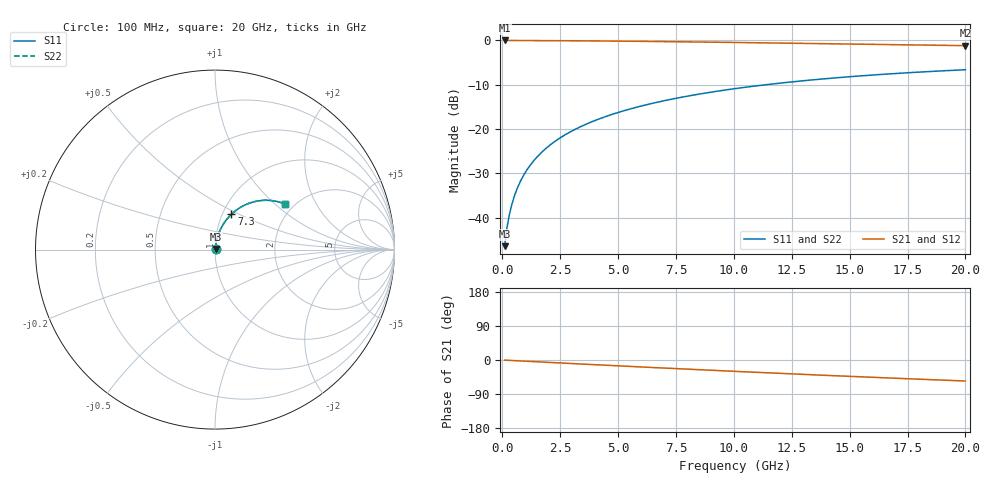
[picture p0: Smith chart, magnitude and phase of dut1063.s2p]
! Touchstone file exported from HFSS 2026.1.0
!  File:  C:/ffzhzh/LocalFiles/Ansys_Project_Files/temp_train_BSMRDL_1063_1783174150_18472.aedt
!  Generated:  10:10:37 PM Jul  4, 2026
!  Design:  BSMRDL
!  Project:  temp_train_BSMRDL_1063_1783174150_18472
! Variables:
!  h_bsmrdl = 5.5um
!  h_ox = 20um
!  h_rdl = 5um
!  h_sub = 80um
!  h_tmrdl = 5um
!  h_tsv = 80um
!  h_via = 3um
!  l_bsmrdl = 875.74um
!  l_sub = 1275.74um
!  l_tmrdl = 200um
!  m_sub = 200um
!  pitch = 43.81um
!  r_tsv = 6um
!  s_tmrdl = 10um
!  w_bsmrdl = 17.57um
!  w_sub = 500um
!  w_tmrdl = 12um
!  x_tsv_center1 = 206um
!  x_tsv_center2 = 1099.31um
!  x_tsv_center3 = 1311.31um
!  x_tsv_center4 = 2204.62um
!  x_tsv_center5 = 2416.62um
!  x_tsv_center6 = 3309.93um
# GHz S MA R 50.000000
! Terminal data exported
! Port[1] = BSM_RDL1_1_T1
! Port[2] = BSM_RDL1_1_T2
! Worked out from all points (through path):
!   200 points, 100 MHz to 20 GHz, reference 50 ohm
!   highest |S21| = -0.03 dB at 100 MHz (marker M1); lowest = -1.2 dB at 20 GHz (marker M2)
!   group delay of S21, straight-line fit = 7.7 ps
!   lowest |S11| = -46.4 dB at 100 MHz (marker M3), VSWR 1.01, Z = 50.3 + j0.346 ohm
!   |S11| at or under -10 dB: start of sweep to 11.39 GHz
!   |S22| runs from -46.4 to -6.6 dB; largest |S21 - S12| = 2.6e-15
!   S11 on the Smith chart (normalised r, x): 100 MHz: 1.01, +0.01; 7.3 GHz: 1.10, +0.46; 20 GHz: 1.80, +1.17
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0.1  0.004794 45.8  0.9967 -0.3  0.9967 -0.3  0.004794 45.8
! Gamma 0 0 0 0
! Port Impedance 50 0 50 0
0.2  0.00764 62.2  0.9965 -0.7  0.9965 -0.7  0.00764 62.2
0.3  0.01068 69.1  0.9963 -1.0  0.9963 -1.0  0.01068 69.1
0.4  0.01377 72.8  0.9962 -1.3  0.9962 -1.3  0.01377 72.8
0.5  0.01689 75.2  0.996 -1.6  0.996 -1.6  0.01689 75.2
0.6  0.02002 76.7  0.9959 -1.9  0.9959 -1.9  0.02002 76.7
0.8  0.02633 78.5  0.9956 -2.5  0.9956 -2.5  0.02633 78.5
1.1  0.03582 79.6  0.9951 -3.5  0.9951 -3.5  0.03582 79.6
1.5  0.04847 79.8  0.9942 -4.7  0.9942 -4.7  0.04847 79.8
1.8  0.0579 79.5  0.9934 -5.7  0.9934 -5.7  0.0579 79.5
2.1  0.06728 78.9  0.9925 -6.6  0.9925 -6.6  0.06728 78.9
2.7  0.08581 77.6  0.9904 -8.5  0.9904 -8.5  0.08581 77.6
3.5  0.11 75.5  0.9871 -10.9  0.9871 -10.9  0.11 75.5
4.2  0.1307 73.6  0.9838 -13.0  0.9838 -13.0  0.1307 73.6
5  0.1538 71.4  0.9797 -15.4  0.9797 -15.4  0.1538 71.4
6.8  0.2036 66.5  0.9691 -20.7  0.9691 -20.7  0.2036 66.5
7.3  0.2169 65.1  0.9659 -22.2  0.9659 -22.2  0.2169 65.1
8.6  0.2504 61.6  0.9571 -25.9  0.9571 -25.9  0.2504 61.6
10.1  0.2868 57.5  0.9462 -30.1  0.9462 -30.1  0.2869 57.5
13.4  0.3586 48.9  0.9206 -39.0  0.9206 -39.0  0.3586 49.0
16.7  0.4183 40.7  0.8949 -47.5  0.8949 -47.5  0.4183 40.8
20  0.4663 33.0  0.8709 -55.4  0.8709 -55.4  0.4664 33.0
